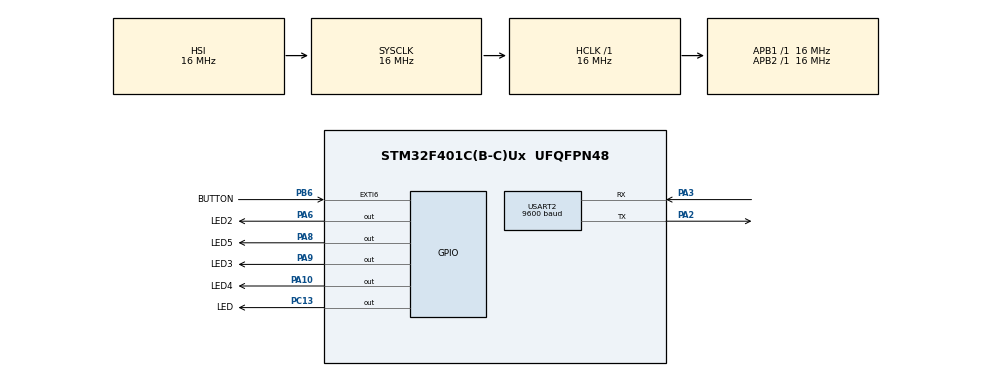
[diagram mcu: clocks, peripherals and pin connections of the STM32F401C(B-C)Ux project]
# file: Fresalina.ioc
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Dma.Request0=USART2_RX
Dma.USART2_RX.0.Direction=DMA_PERIPH_TO_MEMORY
Dma.USART2_RX.0.FIFOMode=DMA_FIFOMODE_DISABLE
Dma.USART2_RX.0.Instance=DMA1_Stream5
Dma.USART2_RX.0.MemDataAlignment=DMA_MDATAALIGN_BYTE
Dma.USART2_RX.0.MemInc=DMA_MINC_ENABLE
Dma.USART2_RX.0.Mode=DMA_NORMAL
Dma.USART2_RX.0.PeriphDataAlignment=DMA_PDATAALIGN_BYTE
Dma.USART2_RX.0.PeriphInc=DMA_PINC_DISABLE
Dma.USART2_RX.0.Priority=DMA_PRIORITY_LOW
Mcu.Family=STM32F4
Mcu.Name=STM32F401C(B-C)Ux
Mcu.Package=UFQFPN48
NVIC.DMA1_Stream5_IRQn=true\:0\:0\:false\:false\:true\:false\:true\:true
NVIC.EXTI9_5_IRQn=true\:0\:0\:false\:false\:true\:true\:true\:true
NVIC.PriorityGroup=NVIC_PRIORITYGROUP_4
NVIC.TIM1_UP_TIM10_IRQn=true\:1\:0\:true\:false\:true\:true\:true\:true
NVIC.USART2_IRQn=true\:1\:0\:true\:false\:true\:true\:true\:true
PA10.GPIO_Label=LED4
PA10.Signal=GPIO_Output
PA2.Mode=Asynchronous
PA2.Signal=USART2_TX
PA3.Mode=Asynchronous
PA3.Signal=USART2_RX
PA6.GPIO_Label=LED2
PA6.Signal=GPIO_Output
PA8.GPIO_Label=LED5
PA8.Signal=GPIO_Output
PA9.GPIO_Label=LED3
PA9.Signal=GPIO_Output
PB6.GPIO_Label=BUTTON
PB6.GPIO_ModeDefaultEXTI=GPIO_MODE_IT_RISING
PB6.GPIO_PuPd=GPIO_PULLDOWN
PB6.Signal=GPXTI6
PC13-ANTI_TAMP.GPIO_Label=LED
PC13-ANTI_TAMP.Signal=GPIO_Output
ProjectManager.HeapSize=0x200
ProjectManager.StackSize=0x400
ProjectManager.TargetToolchain=CMake
RCC.AHBFreq_Value=16000000
RCC.APB1Freq_Value=16000000
RCC.APB2Freq_Value=16000000
RCC.CortexFreq_Value=16000000
RCC.HSE_VALUE=25000000
RCC.HSI_VALUE=16000000
RCC.LSE_VALUE=32768
RCC.SYSCLKFreq_VALUE=16000000
RCC.VCOOutputFreq_Value=192000000
TIM1.AutoReloadPreload=TIM_AUTORELOAD_PRELOAD_ENABLE
TIM1.Period=100-1
TIM1.Prescaler=16000-1
TIM2.AutoReloadPreload=TIM_AUTORELOAD_PRELOAD_ENABLE
TIM2.Period=1454
TIM2.Prescaler=16000-1
USART2.BaudRate=9600
USART2.VirtualMode=VM_ASYNC
VP_TIM1_VS_ClockSourceINT.Mode=Internal
VP_TIM2_VS_ClockSourceINT.Mode=Internal
board=custom

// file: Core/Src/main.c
/* USER CODE BEGIN Header */
/**
  ******************************************************************************
  * @file           : main.c
  * @brief          : Main program body
  ******************************************************************************
  * @attention
  *
  * Copyright (c) 2026 STMicroelectronics.
  * All rights reserved.
  *
  * This software is licensed under terms that can be found in the LICENSE file
  * in the root directory of this software component.
  * If no LICENSE file comes with this software, it is provided AS-IS.
  *
  ******************************************************************************
  */
/* USER CODE END Header */
#include "main.h"

/* USER CODE BEGIN Includes */
#include "stdio.h"
#include "string.h"
#include "stdlib.h"
#include "stdbool.h"
#include "math.h"
#include "uart.h"
#include "UARTRX.h"
/* USER CODE END Includes */

TIM_HandleTypeDef htim1;
TIM_HandleTypeDef htim2;

UART_HandleTypeDef huart2;
DMA_HandleTypeDef hdma_usart2_rx;

void SystemClock_Config(void);
static void MX_GPIO_Init(void);
static void MX_DMA_Init(void);
static void MX_TIM1_Init(void);
static void MX_TIM2_Init(void);
static void MX_USART2_UART_Init(void);

/* USER CODE BEGIN 0 */
void procesa_rx()
{
   if (strstr((char*)UARTRX2.trama_rx, "LED5=ON"))
    HAL_GPIO_WritePin(LED5_GPIO_Port, LED5_Pin, GPIO_PIN_SET);
   else if (strstr((char*)UARTRX2.trama_rx, "LED5=OFF"))
    HAL_GPIO_WritePin(LED5_GPIO_Port, LED5_Pin, GPIO_PIN_RESET);
}
/* USER CODE END 0 */

int main(void)
{

  /* MCU Configuration--------------------------------------------------------*/

  /* Reset of all peripherals, Initializes the Flash interface and the Systick. */
  HAL_Init();

  /* Configure the system clock */
  SystemClock_Config();

  /* Initialize all configured peripherals */
  MX_GPIO_Init();
  MX_DMA_Init();
  MX_TIM1_Init();
  MX_TIM2_Init();
  MX_USART2_UART_Init();
  /* USER CODE BEGIN 2 */
HAL_TIM_Base_Start_IT(&htim1);
uartRX_it_idle_dma_init( &UARTRX2);
  /* USER CODE END 2 */

  /* Infinite loop */
  /* USER CODE BEGIN WHILE */
  while (1)
  {HAL_GPIO_TogglePin(LED_GPIO_Port, LED_Pin);
    HAL_Delay(200);

    if (UARTRX2.flag_rx==1)
	  {
	      //uartx_write_text(&huart2, UARTRX2.trama_rx);
	       procesa_rx(); //procedimeinto donde se procesan los datos
		  uartRX_DMA_Re_init(&UARTRX2);
	  }
    /* USER CODE END WHILE */

  }
}

void SystemClock_Config(void)
{
  RCC_OscInitTypeDef RCC_OscInitStruct = {0};
  RCC_ClkInitTypeDef RCC_ClkInitStruct = {0};

  /** Configure the main internal regulator output voltage
  */
  __HAL_RCC_PWR_CLK_ENABLE();
  __HAL_PWR_VOLTAGESCALING_CONFIG(PWR_REGULATOR_VOLTAGE_SCALE2);

  /** Initializes the RCC Oscillators according to the specified parameters
  * in the RCC_OscInitTypeDef structure.
  */
  RCC_OscInitStruct.OscillatorType = RCC_OSCILLATORTYPE_HSI;
  RCC_OscInitStruct.HSIState = RCC_HSI_ON;
  RCC_OscInitStruct.HSICalibrationValue = RCC_HSICALIBRATION_DEFAULT;
  RCC_OscInitStruct.PLL.PLLState = RCC_PLL_NONE;
  if (HAL_RCC_OscConfig(&RCC_OscInitStruct) != HAL_OK)
  {
    Error_Handler();
  }

  /** Initializes the CPU, AHB and APB buses clocks
  */
  RCC_ClkInitStruct.ClockType = RCC_CLOCKTYPE_HCLK|RCC_CLOCKTYPE_SYSCLK
                              |RCC_CLOCKTYPE_PCLK1|RCC_CLOCKTYPE_PCLK2;
  RCC_ClkInitStruct.SYSCLKSource = RCC_SYSCLKSOURCE_HSI;
  RCC_ClkInitStruct.AHBCLKDivider = RCC_SYSCLK_DIV1;
  RCC_ClkInitStruct.APB1CLKDivider = RCC_HCLK_DIV1;
  RCC_ClkInitStruct.APB2CLKDivider = RCC_HCLK_DIV1;

  if (HAL_RCC_ClockConfig(&RCC_ClkInitStruct, FLASH_LATENCY_0) != HAL_OK)
  {
    Error_Handler();
  }
}

static void MX_TIM1_Init(void)
{

  TIM_ClockConfigTypeDef sClockSourceConfig = {0};
  TIM_MasterConfigTypeDef sMasterConfig = {0};

  htim1.Instance = TIM1;
  htim1.Init.Prescaler = 16000-1;
  htim1.Init.CounterMode = TIM_COUNTERMODE_UP;
  htim1.Init.Period = 100-1;
  htim1.Init.ClockDivision = TIM_CLOCKDIVISION_DIV1;
  htim1.Init.RepetitionCounter = 0;
  htim1.Init.AutoReloadPreload = TIM_AUTORELOAD_PRELOAD_ENABLE;
  if (HAL_TIM_Base_Init(&htim1) != HAL_OK)
  {
    Error_Handler();
  }
  sClockSourceConfig.ClockSource = TIM_CLOCKSOURCE_INTERNAL;
  if (HAL_TIM_ConfigClockSource(&htim1, &sClockSourceConfig) != HAL_OK)
  {
    Error_Handler();
  }
  sMasterConfig.MasterOutputTrigger = TIM_TRGO_RESET;
  sMasterConfig.MasterSlaveMode = TIM_MASTERSLAVEMODE_DISABLE;
  if (HAL_TIMEx_MasterConfigSynchronization(&htim1, &sMasterConfig) != HAL_OK)
  {
    Error_Handler();
  }

}

static void MX_TIM2_Init(void)
{

  TIM_ClockConfigTypeDef sClockSourceConfig = {0};
  TIM_MasterConfigTypeDef sMasterConfig = {0};

  htim2.Instance = TIM2;
  htim2.Init.Prescaler = 16000-1;
  htim2.Init.CounterMode = TIM_COUNTERMODE_UP;
  htim2.Init.Period = 1454;
  htim2.Init.ClockDivision = TIM_CLOCKDIVISION_DIV1;
  htim2.Init.AutoReloadPreload = TIM_AUTORELOAD_PRELOAD_ENABLE;
  if (HAL_TIM_Base_Init(&htim2) != HAL_OK)
  {
    Error_Handler();
  }
  sClockSourceConfig.ClockSource = TIM_CLOCKSOURCE_INTERNAL;
  if (HAL_TIM_ConfigClockSource(&htim2, &sClockSourceConfig) != HAL_OK)
  {
    Error_Handler();
  }
  sMasterConfig.MasterOutputTrigger = TIM_TRGO_RESET;
  sMasterConfig.MasterSlaveMode = TIM_MASTERSLAVEMODE_DISABLE;
  if (HAL_TIMEx_MasterConfigSynchronization(&htim2, &sMasterConfig) != HAL_OK)
  {
    Error_Handler();
  }

}

static void MX_USART2_UART_Init(void)
{

  huart2.Instance = USART2;
  huart2.Init.BaudRate = 9600;
  huart2.Init.WordLength = UART_WORDLENGTH_8B;
  huart2.Init.StopBits = UART_STOPBITS_1;
  huart2.Init.Parity = UART_PARITY_NONE;
  huart2.Init.Mode = UART_MODE_TX_RX;
  huart2.Init.HwFlowCtl = UART_HWCONTROL_NONE;
  huart2.Init.OverSampling = UART_OVERSAMPLING_16;
  if (HAL_UART_Init(&huart2) != HAL_OK)
  {
    Error_Handler();
  }

}

static void MX_DMA_Init(void)
{

  /* DMA controller clock enable */
  __HAL_RCC_DMA1_CLK_ENABLE();

  /* DMA interrupt init */
  /* DMA1_Stream5_IRQn interrupt configuration */
  HAL_NVIC_SetPriority(DMA1_Stream5_IRQn, 0, 0);
  HAL_NVIC_EnableIRQ(DMA1_Stream5_IRQn);

}

static void MX_GPIO_Init(void)
{
  GPIO_InitTypeDef GPIO_InitStruct = {0};

  /* GPIO Ports Clock Enable */
  __HAL_RCC_GPIOC_CLK_ENABLE();
  __HAL_RCC_GPIOA_CLK_ENABLE();
  __HAL_RCC_GPIOB_CLK_ENABLE();

  /*Configure GPIO pin Output Level */
  HAL_GPIO_WritePin(LED_GPIO_Port, LED_Pin, GPIO_PIN_RESET);

  /*Configure GPIO pin Output Level */
  HAL_GPIO_WritePin(GPIOA, LED2_Pin|LED5_Pin|LED3_Pin|LED4_Pin, GPIO_PIN_RESET);

  /*Configure GPIO pin : LED_Pin */
  GPIO_InitStruct.Pin = LED_Pin;
  GPIO_InitStruct.Mode = GPIO_MODE_OUTPUT_PP;
  GPIO_InitStruct.Pull = GPIO_NOPULL;
  GPIO_InitStruct.Speed = GPIO_SPEED_FREQ_LOW;
  HAL_GPIO_Init(LED_GPIO_Port, &GPIO_InitStruct);

  /*Configure GPIO pins : LED2_Pin LED5_Pin LED3_Pin LED4_Pin */
  GPIO_InitStruct.Pin = LED2_Pin|LED5_Pin|LED3_Pin|LED4_Pin;
  GPIO_InitStruct.Mode = GPIO_MODE_OUTPUT_PP;
  GPIO_InitStruct.Pull = GPIO_NOPULL;
  GPIO_InitStruct.Speed = GPIO_SPEED_FREQ_LOW;
  HAL_GPIO_Init(GPIOA, &GPIO_InitStruct);

  /*Configure GPIO pin : BUTTON_Pin */
  GPIO_InitStruct.Pin = BUTTON_Pin;
  GPIO_InitStruct.Mode = GPIO_MODE_IT_RISING;
  GPIO_InitStruct.Pull = GPIO_PULLDOWN;
  HAL_GPIO_Init(BUTTON_GPIO_Port, &GPIO_InitStruct);

  /* EXTI interrupt init*/
  HAL_NVIC_SetPriority(EXTI9_5_IRQn, 0, 0);
  HAL_NVIC_EnableIRQ(EXTI9_5_IRQn);

}

/* USER CODE BEGIN 4 */
void HAL_GPIO_EXTI_Callback(uint16_t GPIO_Pin)
{
    if (GPIO_Pin == BUTTON_Pin)
    {
        HAL_GPIO_WritePin(LED4_GPIO_Port, LED4_Pin,
                          HAL_GPIO_ReadPin(BUTTON_GPIO_Port, BUTTON_Pin));
    }
}
/* USER CODE END 4 */

void Error_Handler(void)
{
  __disable_irq();
  while (1)
  {
  }
}
